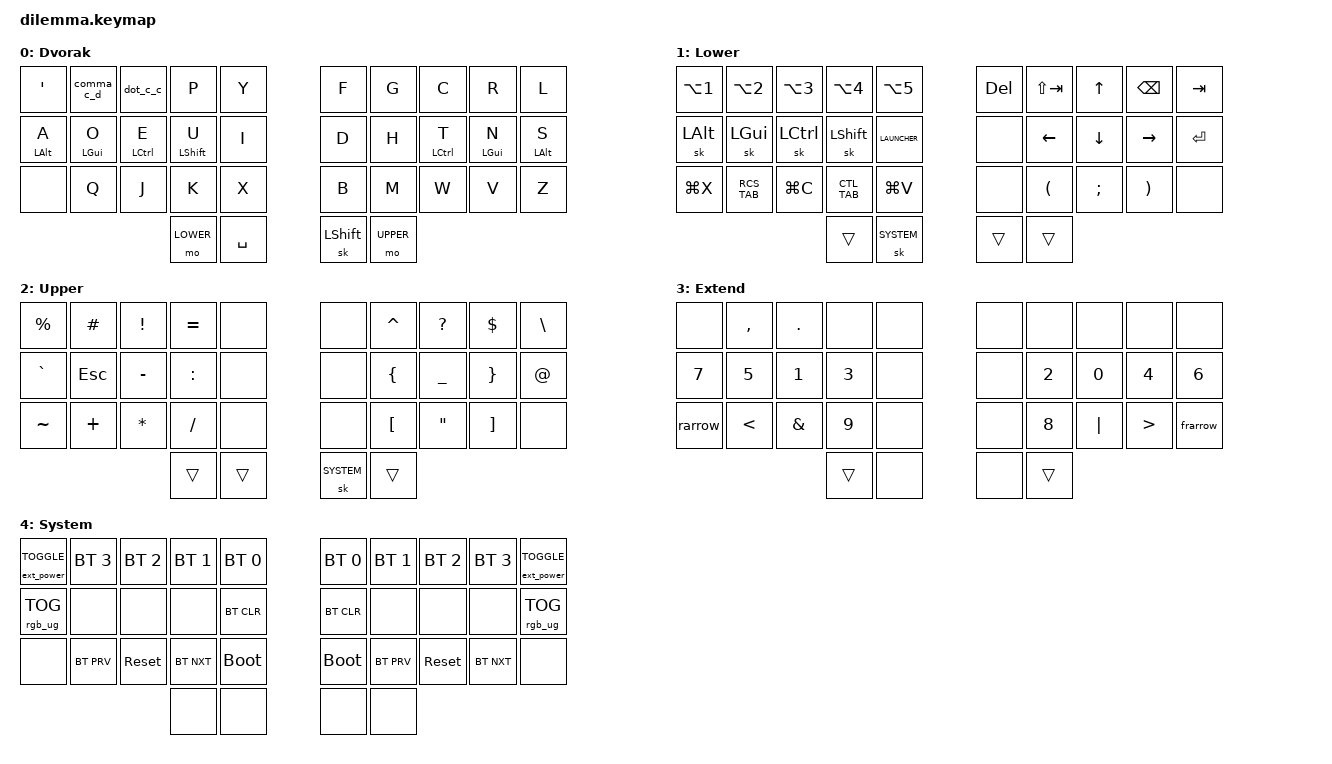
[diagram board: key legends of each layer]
/*
 * Copyright (c) 2023 Charly Delay <0xcharly>
 *
 * SPDX-License-Identifier: MIT
 */

#include <behaviors.dtsi>
#include <dt-bindings/zmk/bt.h>
#include <dt-bindings/zmk/ext_power.h>
#include <dt-bindings/zmk/keys.h>
#include <dt-bindings/zmk/rgb.h>

#define DVORAK 0
#define LOWER 1
#define UPPER 2
#define EXTEND 3
#define SYSTEM 4

// Custom keycodes.
#define LAUNCHER (LG(SPACE))
#define CTL_TAB (LC(TAB))
#define RCS_TAB (LC(LS(TAB)))

#define EXTPOW_TOG &ext_power EXT_POWER_TOGGLE_CMD
#define RGB_UG_TOG &rgb_ug RGB_TOG

// Adjust sticky-keys configuration.
&sk {
  release-after-ms = <1500>;
  quick-release;
};

// Adjust Caps Word configuration.
&caps_word {
  continue-list = <UNDERSCORE MINUS BACKSPACE MINUS>;
};

/ {
  // Conditional layers configuration, specifically tri-layer.
  conditional_layers {
    compatible = "zmk,conditional-layers";

    // Tri-layer LOWER + UPPER = EXTEND.
    num_tri_layer {
      if-layers = <LOWER UPPER>;
      then-layer = <EXTEND>;
    };
  };

  // Macros configuration, specifically character sequences.
  macros {
    // Cancel sticky mods.
    cancel: cancel_queued_sticky_mods {
      display-name = "Cancel sticky mods";
      compatible = "zmk,behavior-macro";
      #binding-cells = <0>;
      bindings = <&macro_tap &kp K_CANCEL>, <&macro_pause_for_release>;
    };

    // Right arrow macro: ->
    rarrow: right_arrow {
      display-name = "Right Arrow";
      compatible = "zmk,behavior-macro";
      #binding-cells = <0>;
      bindings = <&macro_tap &kp MINUS &kp GT>;
    };

    // Fat right arrow macro: =>
    frarrow: fat_right_arrow {
      display-name = "Fat Right Arrow";
      compatible = "zmk,behavior-macro";
      #binding-cells = <0>;
      bindings = <&macro_tap &kp EQUAL &kp GT>;
    };

    // ^C (Ctrl+c).
    ctrl_c: ctrl_c {
      display-name = "Ctrl+c";
      compatible = "zmk,behavior-macro";
      #binding-cells = <0>;
      bindings
          = <&macro_press &kp LCTRL>
          , <&macro_tap &kp C>
          , <&macro_release &kp LCTRL>
          ;
    };

    // ^D (Ctrl+d).
    ctrl_d: ctrl_d {
      display-name = "Ctrl+d";
      compatible = "zmk,behavior-macro";
      #binding-cells = <0>;
      bindings
          = <&macro_press &kp LCTRL>
          , <&macro_tap &kp D>
          , <&macro_release &kp LCTRL>
          ;
    };

    // Dead key acute.
    dk_acute: dead_key_ecute {
      display-name = "Acute dead key";
      compatible = "zmk,behavior-macro";
      #binding-cells = <0>;
      bindings
          = <&macro_press &kp LALT>
          , <&macro_tap &kp E>
          , <&macro_release &kp LALT>
          ;
    };

    // Dead key grave.
    dk_grave: dead_key_grave {
      display-name = "Grave dead key";
      compatible = "zmk,behavior-macro";
      #binding-cells = <0>;
      bindings
          = <&macro_press &kp LALT>
          , <&macro_tap &kp GRAVE>
          , <&macro_release &kp LALT>
          ;
    };

    // Dead key circumflex.
    dk_circ: dead_key_circumflex {
      display-name = "Circumflex dead key";
      compatible = "zmk,behavior-macro";
      #binding-cells = <0>;
      bindings
          = <&macro_press &kp LALT>
          , <&macro_tap &kp I>
          , <&macro_release &kp LALT>
          ;
    };

    // Dead key acute.
    dk_trema: dead_key_trema {
      display-name = "Trema dead key";
      compatible = "zmk,behavior-macro";
      #binding-cells = <0>;
      bindings
          = <&macro_press &kp LALT>
          , <&macro_tap &kp U>
          , <&macro_release &kp LALT>
          ;
    };
  };

  /**
   * Combos configuration: only on base layer.
   *
   * Combo key positions:
   *
   *    0  1  2  3  4    5  6  7  8  9
   *   10 11 12 13 14    15 16 17 18 19
   *   20 21 22 23 24    25 26 27 28 29
   *            30 31    32 33
   */
  combos {
    compatible = "zmk,combos";

    // Failsafe reset on a 2-key combos.
    combo_sys_reset_lhs {
      timeout-ms = <50>;
      key-positions = <30 32>;
      bindings = <&sys_reset>;
    };
    combo_sys_reset_rhs {
      timeout-ms = <50>;
      key-positions = <33 35>;
      bindings = <&sys_reset>;
    };

    // Cancel sticky mods failsafe.
    combo_cancel {
      timeout-ms = <50>;
      key-positions = <0 9>;
      bindings = <&cancel>;
      layers = <DVORAK>;
    };

    // Caps Word on a 2-key combo.
    combo_caps_word {
      timeout-ms = <50>;
      key-positions = <2 7>;
      bindings = <&caps_word>;
      layers = <DVORAK>;
    };

    // Caps Lock on a 2-key combo.
    combo_caps_lock {
      timeout-ms = <50>;
      key-positions = <2 7>;
      bindings = <&kp CAPSLOCK>;
      layers = <DVORAK>;
    };
  };

  /**
   * Custom shifted keycode for access to convenience symbols from the base layer.
   *
   * Particularly useful for Gmail keyboard shortcuts.
   */
  behaviors {
    // Comma -> Control+d.
    comma_c_d: comma_ctrl_d {
      compatible = "zmk,behavior-mod-morph";
      display-name = "COMMA_QUESTION";
      #binding-cells = <0>;
      bindings = <&kp COMMA>, <&ctrl_d>;
      mods = <(MOD_LSFT|MOD_RSFT)>;
    };

    // Period -> Control+c.
    dot_c_c: period_ctrl_c {
      compatible = "zmk,behavior-mod-morph";
      display-name = "PERIOD_EXCLAMATION";
      #binding-cells = <0>;
      bindings = <&kp PERIOD>, <&ctrl_c>;
      mods = <(MOD_LSFT|MOD_RSFT)>;
    };

    // Key positions:
    //
    //    0  1  2  3  4    5  6  7  8  9
    //   10 11 12 13 14    15 16 17 18 19
    //   20 21 22 23 24    25 26 27 28 29
    //            30 31    32 33

    // Tap-preferred flavored homerow mods to use on the right side keys and mouse.
    lhm: left_hand_homerow_mods {
      compatible = "zmk,behavior-hold-tap";
      #binding-cells = <2>;
      tapping-term-ms = <175>;
      quick-tap-ms = <200>;
      require-prior-idle-ms = <200>;
      flavor = "tap-preferred";
      bindings = <&kp>, <&kp>;
      hold-trigger-key-positions = <5 6 7 8 9 15 16 17 18 19 25 26 27 28 29 33 33>; // Right-hand keys.
    };

    // Tap-preferred flavored homerow mods to use on the left side keys only.
    rhm: right_hand_homerow_mods {
      compatible = "zmk,behavior-hold-tap";
      #binding-cells = <2>;
      tapping-term-ms = <175>;
      quick-tap-ms = <200>;
      require-prior-idle-ms = <200>;
      flavor = "tap-preferred";
      bindings = <&kp>, <&kp>;
      hold-trigger-key-positions = <0 1 2 3 4 10 11 12 13 14 20 21 22 23 24 30 31>; // Left-hand keys.
    };
  };

  /**
   * 36-key keymap, using a Dvorak base layer.
   */
  keymap {
    compatible = "zmk,keymap";

    /** Traditional Dvorak layout. */
    dvorak {
      display-name = "Dvorak";
      bindings = <
  /* ╭──────────────────────────────────────────────────────────────────╮ ╭──────────────────────────────────────────────────────────────────╮ */
       &kp APOS     &comma_c_d   &dot_c_c     &kp P        &kp Y            &kp F        &kp G        &kp C        &kp R        &kp L
       &lhm LALT A  &lhm LGUI O  &lhm LCTRL E &lhm LSHFT U &kp I            &kp D        &kp H        &rhm LCTRL T &rhm LGUI N  &rhm LALT S
       &none        &kp Q        &kp J        &kp K        &kp X            &kp B        &kp M        &kp W        &kp V        &kp Z
  /* ╰──────────────────────────────────────────────────────────────────┤ ├──────────────────────────────────────────────────────────────────╯ */
                                              &mo LOWER    &kp SPACE        &sk LSHIFT   &mo UPPER
  /*                                        ╰───────────────────────────╯ ╰───────────────────────────╯                           */
      >;
    };

    /**
     * Lower layer. Left thumb down.
     *
     * Navigation and symbols.
     *
     *   - Primary hand (left):
     *     - Home-row sticky mods.
     *     - Direct access desktop shortcuts.
     *   - Secondary hand (right):
     *     - Inverted T arrow cluster.
     *     - Parenthesis brackets.
     *     - Semi-colon for synergy with parenthesis and alt mod.
     */
    lower {
      display-name = "Lower";
      bindings = <
  /* ╭──────────────────────────────────────────────────────────────────╮ ╭──────────────────────────────────────────────────────────────────╮ */
       &kp LA(N1)   &kp LA(N2)   &kp LA(N3)   &kp LA(N4)   &kp LA(N5)       &kp DEL      &kp LS(TAB)  &kp UP       &kp BSPC     &kp TAB
       &sk LALT     &sk LGUI     &sk LCTRL    &sk LSHIFT   &kp LAUNCHER     &none        &kp LEFT     &kp DOWN     &kp RIGHT    &kp ENTER
       &kp LG(X)    &kp RCS_TAB  &kp LG(C)    &kp CTL_TAB  &kp LG(V)        &none        &kp LPAR     &kp SEMI     &kp RPAR     &none
  /* ╰──────────────────────────────────────────────────────────────────┤ ├──────────────────────────────────────────────────────────────────╯ */
                                              &trans /*↓*/ &sk SYSTEM       &trans       &trans
  /*                                        ╰───────────────────────────╯ ╰───────────────────────────╯                           */
      >;
    };

    /**
     * Upper layer. Right thumb down.
     *
     * Symbols.
     *
     *   - Primary hand (right):
     *     - Underscore for symmetry with dash on other half.
     *     - Caret and dollar for Vi-motions.
     *     - Square and curly brackets.
     *     - Double quotes for modal editors registry.
     *   - Secondary hand (left):
     *     - Most common operators.
     *     - Hash and exclamation mark for Gmail shortcuts, and with synergy with right-side brackets.
     *     - Modal editors escape+colon roll for command mode.
     */
    upper {
      display-name = "Upper";
      bindings = <
  /* ╭──────────────────────────────────────────────────────────────────╮ ╭──────────────────────────────────────────────────────────────────╮ */
       &kp PERCENT  &kp HASH     &kp EXCL     &kp EQUAL    &none            &none        &kp CARET    &kp QMARK    &kp DOLLAR   &kp BSLH
       &kp GRAVE    &kp ESCAPE   &kp MINUS    &kp COLON    &none            &none        &kp LBRC     &kp UNDER    &kp RBRC     &kp AT
       &kp TILDE    &kp PLUS     &kp ASTERISK &kp SLASH    &none            &none        &kp LBKT     &kp DQT      &kp RBKT     &none
  /* ╰──────────────────────────────────────────────────────────────────┤ ├──────────────────────────────────────────────────────────────────╯ */
                                              &trans       &trans           &sk SYSTEM   &trans /*↓*/
  /*                                        ╰───────────────────────────╯ ╰───────────────────────────╯                           */
      >;
    };

    /**
     * Extend layer. Classic tri-layer activated from both lower and upper layers.
     *
     * Numbers and symbols.
     *
     *   - Optimized numrow, and balanced operators.
     *   - Tilde and forward-slash synergy for paths.
     */
    extend {
      display-name = "Extend";
      bindings = <
  /* ╭──────────────────────────────────────────────────────────────────╮ ╭──────────────────────────────────────────────────────────────────╮ */
       &none        &kp COMMA    &kp DOT      &none        &none            &none        &none        &none        &none        &none
       &kp N7       &kp N5       &kp N1       &kp N3       &none            &none        &kp N2       &kp N0       &kp N4       &kp N6
       &rarrow      &kp LT       &kp AMPS     &kp N9       &none            &none        &kp N8       &kp PIPE     &kp GT       &frarrow
  /* ╰──────────────────────────────────────────────────────────────────┤ ├──────────────────────────────────────────────────────────────────╯ */
                                              &trans /*↓*/ &none            &none        &trans /*↓*/
  /*                                        ╰───────────────────────────╯ ╰───────────────────────────╯                           */
      >;
    };

   /**
    * System layer for hardware controls.
    *
    * Available as a sticky-layer with a hard-to-mistap thumb cluster tap dance.
    *
    *   - Bluetooth channels.
    *   - Reset/bootloader.
    *   - Base layers.
    *   - Ext power/RGB.
    */
    system {
      display-name = "System";
      bindings = <
  /* ╭──────────────────────────────────────────────────────────────────╮ ╭──────────────────────────────────────────────────────────────────╮ */
       EXTPOW_TOG   &bt BT_SEL 3 &bt BT_SEL 2 &bt BT_SEL 1 &bt BT_SEL 0     &bt BT_SEL 0 &bt BT_SEL 1 &bt BT_SEL 2 &bt BT_SEL 3 EXTPOW_TOG
       RGB_UG_TOG   &none        &none        &none        &bt BT_CLR       &bt BT_CLR   &none        &none        &none        RGB_UG_TOG
       &none        &bt BT_PRV   &sys_reset   &bt BT_NXT   &bootloader      &bootloader  &bt BT_PRV   &sys_reset   &bt BT_NXT   &none
  /* ╰──────────────────────────────────────────────────────────────────┤ ├──────────────────────────────────────────────────────────────────╯ */
                                              &none        &none            &none        &none
  /*                                        ╰───────────────────────────╯ ╰───────────────────────────╯                           */
      >;
    };
  };
};
